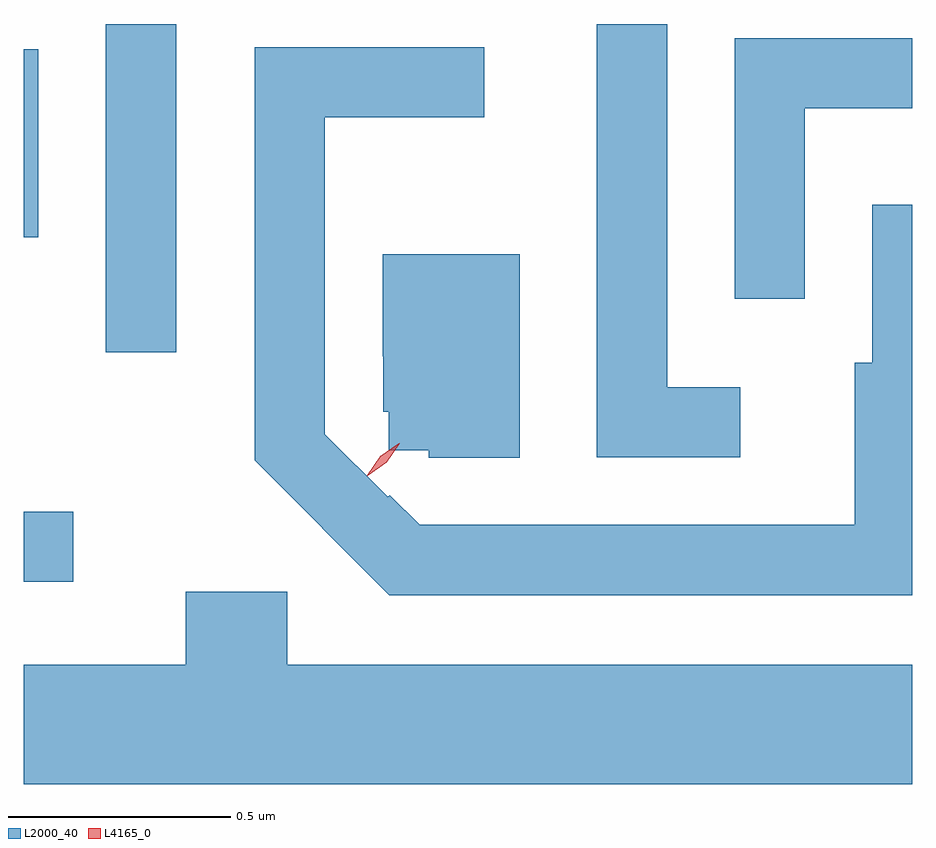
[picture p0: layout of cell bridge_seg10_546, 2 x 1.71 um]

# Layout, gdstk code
import gdstk
lib = gdstk.Library(unit=1e-6, precision=1e-09)
def R(c, l, rs):  # rectangles x0, y0, x1, y1
    for r in rs: c.add(gdstk.rectangle(r[:2], r[2:], *l))
def P(c, l, *ps):  # polygons
    for p in ps: c.add(gdstk.Polygon(p, *l))
L2000_40 = (2000, 40)
L4165_0 = (4165, 0)

bridge_seg10_546 = lib.new_cell('bridge_seg10_546')
R(bridge_seg10_546, L2000_40, [(826.431,2160.991,826.543,2161.149), (826.616,2161.508,826.774,2162.246), (826.431,2161.766,826.464,2162.189)])
P(bridge_seg10_546, L2000_40, [(828.043,2161.429),(827.879,2161.429),(827.879,2162.246),(827.721,2162.246),(827.721,2161.271),(828.043,2161.271)],
  [(828.189,2162.056),(828.431,2162.056),(828.431,2162.214),(828.031,2162.214),(828.031,2161.628),(828.189,2161.628)],
  [(828.431,2161.839),(828.341,2161.839),(828.341,2161.484),(828.301,2161.484),(828.301,2161.119),(827.322,2161.119),(827.255,2161.186),(827.25,2161.182),(827.109,2161.323),(827.109,2162.036),(827.468,2162.036),(827.468,2162.194),(826.951,2162.194),(826.951,2161.264),(827.254,2160.961),(828.431,2160.961)],
  [(827.547,2161.728),(827.239,2161.728),(827.239,2161.499),(827.24,2161.499),(827.24,2161.374),(827.253,2161.374),(827.253,2161.287),(827.343,2161.287),(827.343,2161.27),(827.547,2161.27)],
  [(828.431,2160.804),(827.024,2160.804),(827.024,2160.969),(826.796,2160.969),(826.796,2160.804),(826.431,2160.804),(826.431,2160.536),(828.431,2160.536)])
P(bridge_seg10_546, L4165_0, [(827.204,2161.23),(827.204,2161.231),(827.233,2161.274),(827.276,2161.303),(827.277,2161.303),(827.277,2161.303),(827.248,2161.26),(827.205,2161.23)],
  [(827.206,2161.231),(827.206,2161.232),(827.234,2161.274),(827.274,2161.302),(827.275,2161.302),(827.275,2161.301),(827.248,2161.26),(827.207,2161.231)])

lib.write_gds('bridge_seg10_546.gds')
